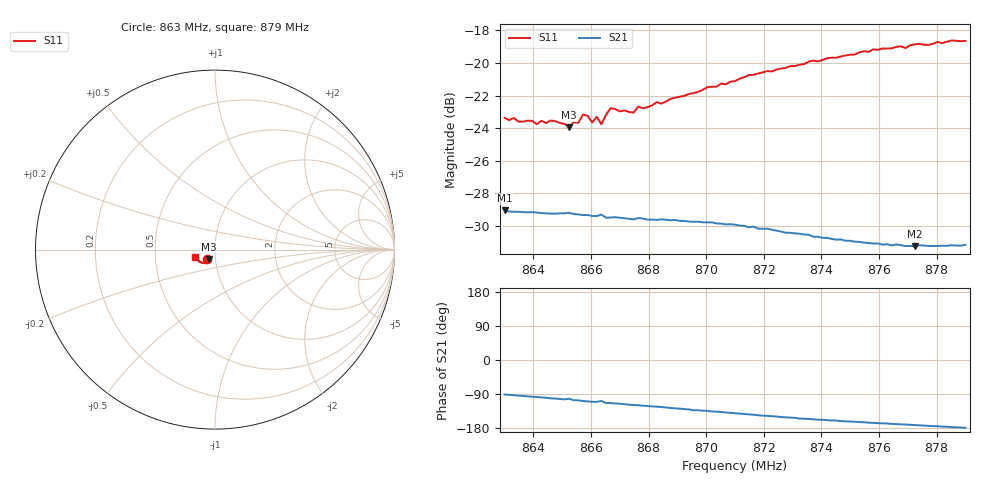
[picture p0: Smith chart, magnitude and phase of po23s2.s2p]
# HZ S RI R 50
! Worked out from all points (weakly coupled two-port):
!   101 points, 863 MHz to 879 MHz, reference 50 ohm
!   highest |S21| = -29.05 dB at 863 MHz (marker M1); lowest = -31.2 dB at 877.24 MHz (marker M2)
!   lowest |S11| = -23.9 dB at 865.24 MHz (marker M3), VSWR 1.14, Z = 46.5 - j5.01 ohm
!   |S11| at or under -10 dB: start of sweep to end of sweep
!   S12 and S22 are empty: the file has one direction only
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8.63e8  -0.043 -0.0524  -0.00067 -0.0353  0 0  0 0
8.6396e8  -0.0402 -0.0529  -0.0042 -0.0346  0 0  0 0
8.6412e8  -0.0372 -0.0532  -0.00458 -0.0344  0 0  0 0
8.646e8  -0.0376 -0.0549  -0.00665 -0.0338  0 0  0 0
8.6524e8  -0.0339 -0.0537  -0.00732 -0.0339  0 0  0 0
8.654e8  -0.0342 -0.0562  -0.0095 -0.033  0 0  0 0
8.6556e8  -0.0331 -0.0566  -0.00969 -0.0329  0 0  0 0
8.6572e8  -0.0375 -0.0584  -0.0106 -0.0324  0 0  0 0
8.6588e8  -0.0366 -0.0583  -0.0112 -0.0323  0 0  0 0
8.6604e8  -0.0283 -0.0593  -0.0118 -0.0318  0 0  0 0
8.662e8  -0.0341 -0.0592  -0.0119 -0.0317  0 0  0 0
8.6636e8  -0.0277 -0.0587  -0.0106 -0.0325  0 0  0 0
8.6668e8  -0.0392 -0.0612  -0.0135 -0.0307  0 0  0 0
8.6748e8  -0.0324 -0.0625  -0.0159 -0.029  0 0  0 0
8.6764e8  -0.0357 -0.0642  -0.0164 -0.0291  0 0  0 0
8.6844e8  -0.0372 -0.0652  -0.0185 -0.0274  0 0  0 0
8.71e8  -0.0475 -0.0741  -0.0246 -0.0203  0 0  0 0
8.7148e8  -0.0512 -0.0762  -0.0251 -0.0187  0 0  0 0
8.7372e8  -0.0686 -0.0751  -0.0268 -0.0117  0 0  0 0
8.7644e8  -0.0918 -0.0623  -0.027 -0.00544  0 0  0 0
8.7724e8  -0.0996 -0.0556  -0.0271 -0.00394  0 0  0 0
8.79e8  -0.1101 -0.0392  -0.0276 -0.00046  0 0  0 0
